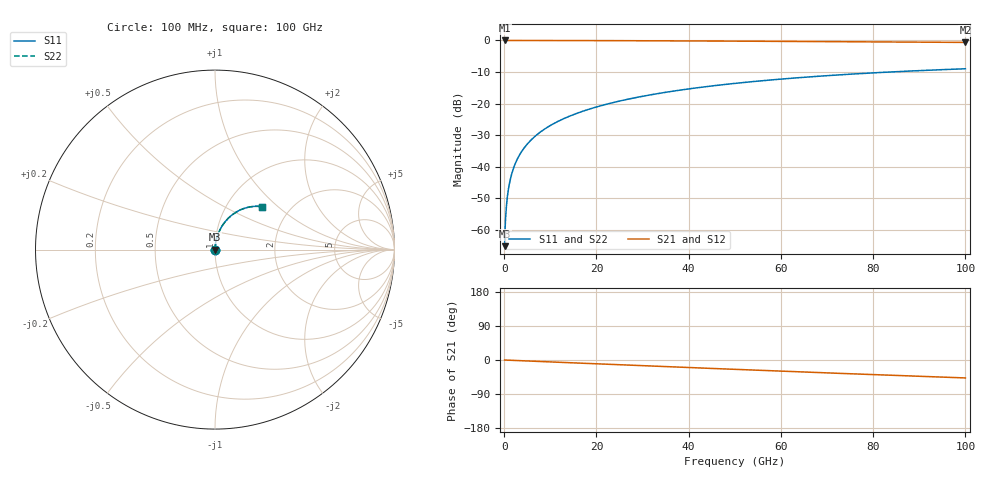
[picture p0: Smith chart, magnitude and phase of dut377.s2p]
! Touchstone file exported from HFSS 2026.1.0
!  File:  C:/ffzhzh/LocalFiles/Ansys_Project_Files/temp_train_TSV_377_1783510449_9504.aedt
!  Generated:  07:35:25 PM Jul  8, 2026
!  Design:  TSV
!  Project:  temp_train_TSV_377_1783510449_9504
! Variables:
!  h_bsmrdl = 2um
!  h_ox = 20um
!  h_rdl = 5um
!  h_sub = 81.11um
!  h_tmrdl = 5um
!  h_tsv = 81.11um
!  h_via = 3um
!  l_bsmrdl = 300um
!  l_sub = 413um
!  l_tmrdl = 200um
!  m_sub = 200um
!  pitch = 58.66um
!  r_tsv = 6.5um
!  s_tmrdl = 10um
!  w_bsmrdl = 18um
!  w_sub = 500um
!  w_tmrdl = 12um
!  x_tsv_center1 = 206um
!  x_tsv_center2 = 524um
!  x_tsv_center3 = 736um
!  x_tsv_center4 = 1054um
!  x_tsv_center5 = 1266um
!  x_tsv_center6 = 1584um
# GHz S MA R 50.000000
! Terminal data exported
! Port[1] = TSV1_1_T1
! Port[2] = TSV1_1_T2
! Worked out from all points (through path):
!   1000 points, 100 MHz to 100 GHz, reference 50 ohm
!   highest |S21| = 0.00 dB at 100 MHz (marker M1); lowest = -0.6 dB at 100 GHz (marker M2)
!   group delay of S21, straight-line fit = 1.32 ps
!   lowest |S11| = -65.2 dB at 100 MHz (marker M3), VSWR 1.00, Z = 50 + j0.0486 ohm
!   |S11| at or under -10 dB: start of sweep to 83.69 GHz
!   |S22| runs from -65.2 to -9.0 dB; largest |S21 - S12| = 3.5e-15
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0.1  0.0005475 62.6  0.9997 -0.1  0.9997 -0.1  0.0005475 62.6
! Gamma 0 0 0 0
! Port Impedance 50 0 50 0
0.3  0.001467 78.9  0.9997 -0.2  0.9997 -0.2  0.001467 78.9
0.7  0.003325 84.0  0.9997 -0.4  0.9997 -0.4  0.003325 84.0
0.8  0.003789 84.4  0.9996 -0.4  0.9996 -0.4  0.003789 84.4
1  0.004715 85.0  0.9996 -0.5  0.9996 -0.5  0.004715 85.0
1.3  0.006099 85.5  0.9996 -0.7  0.9996 -0.7  0.006099 85.5
1.7  0.007931 85.7  0.9995 -0.9  0.9995 -0.9  0.007931 85.7
2.3  0.01065 85.8  0.9994 -1.2  0.9994 -1.2  0.01065 85.8
3  0.0138 85.7  0.9992 -1.5  0.9992 -1.5  0.0138 85.7
3.8  0.01737 85.6  0.9991 -1.9  0.9991 -1.9  0.01737 85.6
4.8  0.02182 85.3  0.9989 -2.4  0.9989 -2.4  0.02182 85.3
6  0.02714 85.0  0.9987 -3.0  0.9987 -3.0  0.02714 85.0
8.8  0.0395 83.9  0.9981 -4.5  0.9981 -4.5  0.0395 83.9
12.4  0.05529 82.3  0.9971 -6.3  0.9971 -6.3  0.05529 82.3
16.8  0.0744 80.3  0.9956 -8.4  0.9956 -8.4  0.0744 80.3
24.2  0.106 76.9  0.9925 -12.1  0.9925 -12.1  0.106 76.9
33.4  0.1441 72.5  0.9874 -16.6  0.9874 -16.6  0.1441 72.5
41.2  0.1751 68.8  0.9821 -20.4  0.9821 -20.4  0.1751 68.8
50.1  0.2088 64.6  0.9753 -24.7  0.9753 -24.7  0.2088 64.6
66.7  0.2661 56.9  0.961 -32.5  0.961 -32.5  0.2661 56.9
83.4  0.3154 49.4  0.9458 -40.1  0.9458 -40.1  0.3154 49.4
100  0.3555 42.2  0.9312 -47.3  0.9312 -47.3  0.3555 42.2
